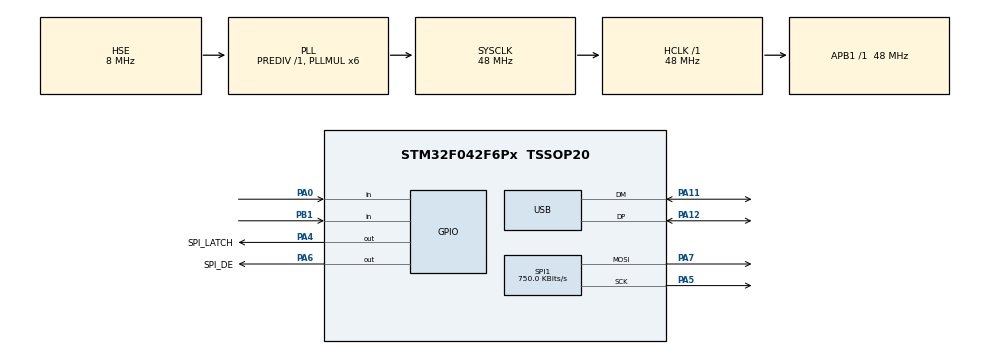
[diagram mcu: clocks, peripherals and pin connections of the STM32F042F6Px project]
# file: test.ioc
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Mcu.Family=STM32F0
Mcu.Name=STM32F042F6Px
Mcu.Package=TSSOP20
NVIC.SPI1_IRQn=true\:0\:0\:false\:false\:true\:true\:true
NVIC.TIM14_IRQn=true\:3\:0\:false\:false\:true\:false\:true
NVIC.TIM17_IRQn=true\:0\:0\:false\:false\:true\:true\:true
NVIC.TIM3_IRQn=true\:0\:0\:false\:false\:true\:true\:true
NVIC.TimeBase=TIM14_IRQn
NVIC.TimeBaseIP=TIM14
NVIC.USB_IRQn=true\:0\:0\:false\:false\:true\:true\:true
PA0.Signal=GPIO_Input
PA11.Mode=Device
PA11.Signal=USB_DM
PA12.Mode=Device
PA12.Signal=USB_DP
PA13.Mode=Serial_Wire
PA13.Signal=SYS_SWDIO
PA14.Mode=Serial_Wire
PA14.Signal=SYS_SWCLK
PA4.GPIO_Label=SPI_LATCH
PA4.Signal=GPIO_Output
PA5.Mode=TX_Only_Simplex_Unidirect_Master
PA5.Signal=SPI1_SCK
PA6.GPIO_Label=SPI_DE
PA6.GPIO_ModeDefaultOutputPP=GPIO_MODE_OUTPUT_PP
PA6.Signal=GPIO_Output
PA7.Mode=TX_Only_Simplex_Unidirect_Master
PA7.Signal=SPI1_MOSI
PB1.Signal=GPIO_Input
PF0-OSC_IN.Mode=HSE-External-Oscillator
PF0-OSC_IN.Signal=RCC_OSC_IN
PF1-OSC_OUT.Mode=HSE-External-Oscillator
PF1-OSC_OUT.Signal=RCC_OSC_OUT
ProjectManager.HeapSize=0x200
ProjectManager.StackSize=0x400
ProjectManager.TargetToolchain=Makefile
RCC.AHBFreq_Value=48000000
RCC.APB1Freq_Value=48000000
RCC.APB1TimFreq_Value=48000000
RCC.HCLKFreq_Value=48000000
RCC.HSIState=RCC_HSI_ON
RCC.PLLMUL=RCC_PLL_MUL6
RCC.SYSCLKFreq_VALUE=48000000
RCC.SYSCLKSource=RCC_SYSCLKSOURCE_PLLCLK
RCC.USBClockSelection=RCC_USBCLKSOURCE_PLL
SPI1.BaudRatePrescaler=SPI_BAUDRATEPRESCALER_64
SPI1.CalculateBaudRate=750.0 KBits/s
SPI1.DataSize=SPI_DATASIZE_8BIT
SPI1.Direction=SPI_DIRECTION_2LINES
SPI1.Mode=SPI_MODE_MASTER
SPI1.VirtualType=VM_MASTER
TIM17.Period=1
TIM17.Prescaler=48
TIM3.CounterMode=TIM_COUNTERMODE_DOWN
TIM3.Period=1000
TIM3.Prescaler=48000
USB_DEVICE.APP_RX_DATA_SIZE=896
USB_DEVICE.APP_TX_DATA_SIZE=896
USB_DEVICE.CLASS_NAME_FS=CDC
USB_DEVICE.USBD_HandleTypeDef=hUsbDeviceFS
USB_DEVICE.USBD_MAX_STR_DESC_SIZ=20
USB_DEVICE.USBD_SELF_POWERED=0
USB_DEVICE.VirtualMode=Cdc
USB_DEVICE.VirtualModeFS=Cdc_FS
VP_RCC_USB.Mode=CRS SYNC Source USB
VP_SYS_VS_PINREMAP.Mode=PINREMAP
VP_SYS_VS_tim14.Mode=TIM14
VP_TIM17_VS_ClockSourceINT.Mode=Enable_Timer
VP_TIM3_VS_ClockSourceINT.Mode=Internal
VP_USB_DEVICE_VS_USB_DEVICE_CDC_FS.Mode=CDC_FS
board=test

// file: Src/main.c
/* USER CODE BEGIN Header */
/**
  ******************************************************************************
  * @file           : main.c
  * @brief          : Main program body
  ******************************************************************************
  * @attention
  *
  * Copyright (c) 2022 STMicroelectronics.
  * All rights reserved.
  *
  * This software is licensed under terms that can be found in the LICENSE file
  * in the root directory of this software component.
  * If no LICENSE file comes with this software, it is provided AS-IS.
  *
  ******************************************************************************
  */
/* USER CODE END Header */
#include "main.h"
#include "spi.h"
#include "tim.h"
#include "usb_device.h"
#include "gpio.h"

/* USER CODE BEGIN PV */
/* Private variables ---------------------------------------------------------*/

/* USER CODE END PV */

void SystemClock_Config(void);
/* USER CODE BEGIN PFP */
/* Private function prototypes -----------------------------------------------*/

/* USER CODE END PFP */

int main(void)
{

  /* MCU Configuration--------------------------------------------------------*/

  /* Reset of all peripherals, Initializes the Flash interface and the Systick. */
  HAL_Init();

  /* Configure the system clock */
  SystemClock_Config();

  /* Initialize all configured peripherals */
  MX_GPIO_Init();
  MX_SPI1_Init();
  MX_TIM3_Init();
  MX_TIM17_Init();
  MX_USB_DEVICE_Init();
  /* USER CODE BEGIN 2 */
#define bin(a) ((( (a/10000000*128) + \
(((a/1000000)&1)*64) + \
(((a/100000)&1)*32) + \
(((a/10000)&1)*16) + \
(((a/1000)&1)*8) + \
(((a/100)&1)*4) + \
(((a/10)&1)*2) + \
(a&1)) * (a/10000000)) + \
(( ((a/262144)*64) + \
(((a/32768)&1)*32) + \
(((a/4096)&1)*16) + \
(((a/512)&1)*8) + \
(((a/64)&1)*4) + \
(((a/8)&1)*2) + \
(a&1)) * (1-(a/10000000))))

  /* Infinite loop */
  uint8_t buf[11];
  buf[0]=bin(00111111);
  buf[1]=bin(00000110);
  buf[2]=bin(01011011);
  buf[3]=bin(01001111);
  buf[4]=bin(01100110);
  buf[5]=bin(01101101);
  buf[6]=bin(01111101);
  buf[7]=bin(00000111);
  buf[8]=bin(01111111);
  buf[9]=bin(01101111);
  buf[10]=0;
  uint8_t n,s;
  n=0;
  HAL_GPIO_WritePin(GPIOA, GPIO_PIN_6, GPIO_PIN_RESET);
  /* USER CODE END 2 */

  /* Infinite loop */
  while (1)
  {

    /* USER CODE BEGIN 3 */
    s = buf[n];
    HAL_SPI_Transmit(&hspi1, &s,1, 0x1000);
    HAL_GPIO_WritePin(GPIOA, GPIO_PIN_4, GPIO_PIN_SET);
    HAL_Delay(1);
    HAL_GPIO_WritePin(GPIOA, GPIO_PIN_4, GPIO_PIN_RESET);
    HAL_Delay(500);
    n++;
    if(n>9) n=0;

  }
  /* USER CODE END 3 */
}

void SystemClock_Config(void)
{
  RCC_OscInitTypeDef RCC_OscInitStruct = {0};
  RCC_ClkInitTypeDef RCC_ClkInitStruct = {0};
  RCC_PeriphCLKInitTypeDef PeriphClkInit = {0};
  RCC_CRSInitTypeDef RCC_CRSInitStruct = {0};

  /** Initializes the RCC Oscillators according to the specified parameters
  * in the RCC_OscInitTypeDef structure.
  */
  RCC_OscInitStruct.OscillatorType = RCC_OSCILLATORTYPE_HSE;
  RCC_OscInitStruct.HSEState = RCC_HSE_ON;
  RCC_OscInitStruct.PLL.PLLState = RCC_PLL_ON;
  RCC_OscInitStruct.PLL.PLLSource = RCC_PLLSOURCE_HSE;
  RCC_OscInitStruct.PLL.PLLMUL = RCC_PLL_MUL6;
  RCC_OscInitStruct.PLL.PREDIV = RCC_PREDIV_DIV1;
  if (HAL_RCC_OscConfig(&RCC_OscInitStruct) != HAL_OK)
  {
    Error_Handler();
  }
  /** Initializes the CPU, AHB and APB buses clocks
  */
  RCC_ClkInitStruct.ClockType = RCC_CLOCKTYPE_HCLK|RCC_CLOCKTYPE_SYSCLK
                              |RCC_CLOCKTYPE_PCLK1;
  RCC_ClkInitStruct.SYSCLKSource = RCC_SYSCLKSOURCE_PLLCLK;
  RCC_ClkInitStruct.AHBCLKDivider = RCC_SYSCLK_DIV1;
  RCC_ClkInitStruct.APB1CLKDivider = RCC_HCLK_DIV1;

  if (HAL_RCC_ClockConfig(&RCC_ClkInitStruct, FLASH_LATENCY_1) != HAL_OK)
  {
    Error_Handler();
  }
  PeriphClkInit.PeriphClockSelection = RCC_PERIPHCLK_USB;
  PeriphClkInit.UsbClockSelection = RCC_USBCLKSOURCE_PLL;

  if (HAL_RCCEx_PeriphCLKConfig(&PeriphClkInit) != HAL_OK)
  {
    Error_Handler();
  }
  /** Enable the SYSCFG APB clock
  */
  __HAL_RCC_CRS_CLK_ENABLE();
  /** Configures CRS
  */
  RCC_CRSInitStruct.Prescaler = RCC_CRS_SYNC_DIV1;
  RCC_CRSInitStruct.Source = RCC_CRS_SYNC_SOURCE_USB;
  RCC_CRSInitStruct.Polarity = RCC_CRS_SYNC_POLARITY_RISING;
  RCC_CRSInitStruct.ReloadValue = __HAL_RCC_CRS_RELOADVALUE_CALCULATE(48000000,1000);
  RCC_CRSInitStruct.ErrorLimitValue = 34;
  RCC_CRSInitStruct.HSI48CalibrationValue = 32;

  HAL_RCCEx_CRSConfig(&RCC_CRSInitStruct);
}

void HAL_TIM_PeriodElapsedCallback(TIM_HandleTypeDef *htim)
{
  if (htim->Instance == TIM14) {
    HAL_IncTick();
  }
}

void Error_Handler(void)
{
  __disable_irq();
  while (1)
  {
  }
}
